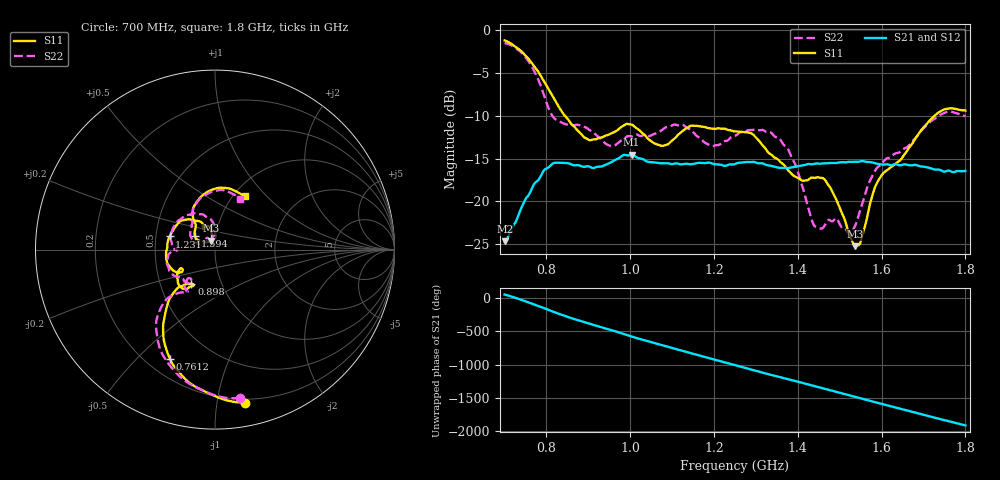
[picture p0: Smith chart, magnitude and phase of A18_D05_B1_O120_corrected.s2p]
! Created with skrf 1.9.0 (http://scikit-rf.org).
# Hz S RI R 50.0
!freq ReS11 ImS11 ReS21 ImS21 ReS12 ImS12 ReS22 ImS22
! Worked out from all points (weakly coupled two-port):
!   1601 points, 700 MHz to 1.8 GHz, reference 50 ohm
!   highest |S21| = -14.54 dB at 1.003 GHz (marker M1); lowest = -24.7 dB at 700.7 MHz (marker M2)
!   lowest |S11| = -25.2 dB at 1.537 GHz (marker M3), VSWR 1.12, Z = 47.5 + j4.74 ohm
!   |S11| at or under -10 dB: 843.9 MHz to 1.726 GHz (882.4 MHz wide, 68.7 % of centre)
!   |S22| runs from -23.8 to -1.5 dB; largest |S21 - S12| = 0.0035
!   S11 on the Smith chart (normalised r, x): 700 MHz: 0.17, -1.20; 761.2 MHz: 0.29, -0.63; 898 MHz: 0.72, -0.29; 1.231 GHz: 0.59, +0.09; 1.594 GHz: 0.79, +0.12; 1.8 GHz: 1.13, +0.75
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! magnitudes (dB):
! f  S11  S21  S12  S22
! 700 MHz  -1.2  -24.6  -24.4  -1.5
! 700.7 MHz  -1.2  -24.7  -24.3  -1.5
! 761.2 MHz  -3.6  -18.9  -18.8  -3.9
! 816.9 MHz  -7.9  -15.5  -15.6  -10.2
! 883.6 MHz  -12.2  -15.9  -15.8  -11.2
! 898 MHz  -12.7  -15.9  -16.0  -11.5
! 953.7 MHz  -12.1  -15.4  -15.4  -13.5
! 1.003 GHz  -11.0  -14.5  -14.7  -12.4
! 1.067 GHz  -13.4  -15.5  -15.5  -11.9
! 1.145 GHz  -11.2  -15.7  -15.7  -11.7
! 1.231 GHz  -11.6  -15.8  -15.7  -12.9
! 1.25 GHz  -11.8  -15.6  -15.6  -12.3
! 1.357 GHz  -15.3  -16.1  -16.0  -12.7
! 1.395 GHz  -17.1  -15.9  -15.9  -15.8
! 1.434 GHz  -17.2  -15.7  -15.6  -22.2
! 1.476 GHz  -18.3  -15.5  -15.5  -22.2
! 1.537 GHz  -25.2  -15.4  -15.4  -22.9
! 1.55 GHz  -24.6  -15.3  -15.3  -20.8
! 1.594 GHz  -17.4  -15.7  -15.6  -15.9
! 1.617 GHz  -16.2  -15.7  -15.7  -14.9
! 1.733 GHz  -9.7  -16.3  -16.3  -10.1
! 1.8 GHz  -9.4  -16.4  -16.4  -10.0
